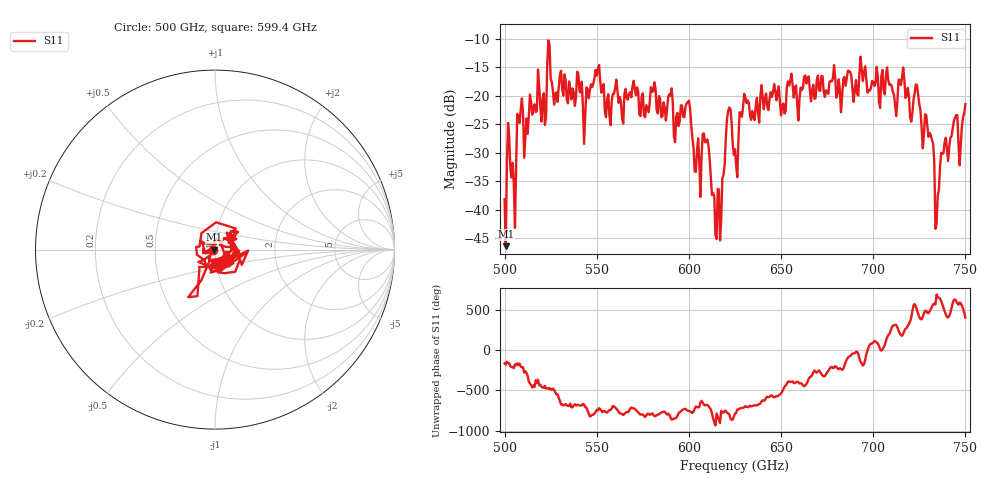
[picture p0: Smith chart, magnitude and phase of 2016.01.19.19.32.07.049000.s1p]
!Created with skrf (http://scikit-rf.org).
# GHz S RI R 50.0
!freq ReS11 ImS11
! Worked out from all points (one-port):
!   401 points, 500 GHz to 750 GHz, reference 50 ohm
!   lowest |S11| = -46.4 dB at 500.6 GHz (marker M1), VSWR 1.01, Z = 49.5 - j0.00772 ohm
!   |S11| at or under -10 dB: start of sweep to end of sweep
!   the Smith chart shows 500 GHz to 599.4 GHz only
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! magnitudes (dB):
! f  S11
! 500 GHz  -38.2
! 500.6 GHz  -46.4
! 502.5 GHz  -27.3
! 505 GHz  -35.6
! 508.1 GHz  -24.8
! 521.2 GHz  -19.6
! 524.4 GHz  -11.1
! 527.5 GHz  -19.6
! 531.2 GHz  -18.9
! 562.5 GHz  -20.3
! 580.6 GHz  -19.2
! 593.8 GHz  -23.0
! 599.4 GHz  -21.1
! 605 GHz  -27.5
! 609.4 GHz  -28.1
! 615.6 GHz  -36.4
! 618.1 GHz  -34.6
! 621.2 GHz  -22.8
! 625 GHz  -29.4
! 630.6 GHz  -20.3
! 656.2 GHz  -18.1
! 687.5 GHz  -15.9
! 718.8 GHz  -18.6
! 729.4 GHz  -25.5
! 735 GHz  -37.6
! 738.1 GHz  -30.0
! 747.5 GHz  -28.5
! 750 GHz  -21.5
